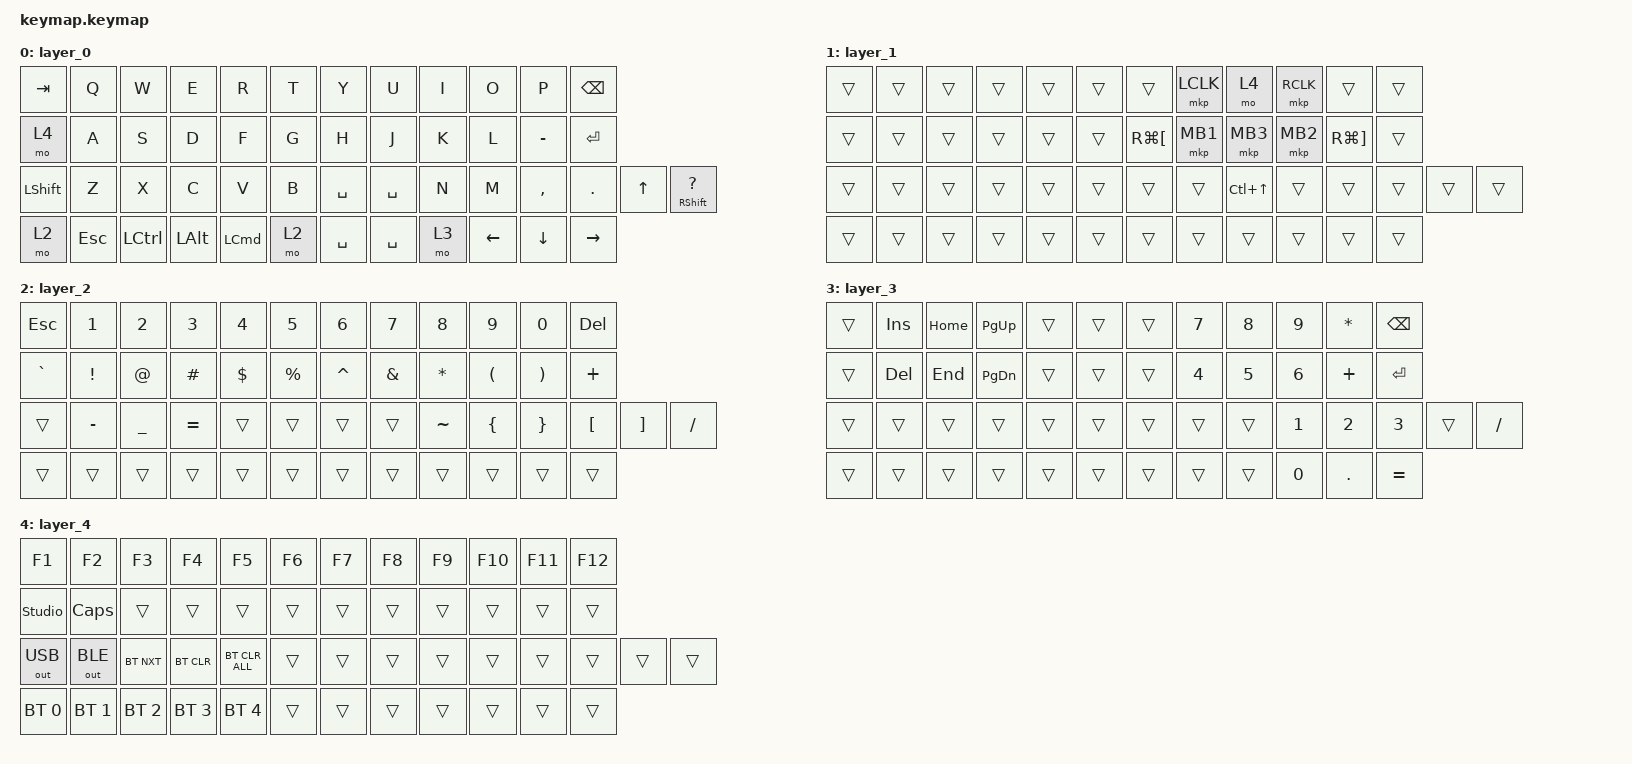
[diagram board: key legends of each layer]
#include <behaviors.dtsi>
#include <dt-bindings/zmk/bt.h>
#include <dt-bindings/zmk/keys.h>
#include <dt-bindings/zmk/outputs.h>
#include <dt-bindings/zmk/pointing.h>

/ {
    combos {
        compatible = "zmk,combos";

        bt_clear {
            bindings = <&bt BT_CLR>;
            key-positions = <28 29>;
            layers = <2>;
        };
    };

    keymap {
        compatible = "zmk,keymap";

        layer_0 {
            // Base layer (変更点: 左手ホームロー下段 A の左隣キーを &mo 5 → &mo 4 に変更し、
            // レイヤー4(システム/Fキー層)へ直接アクセスできるようにした)
            bindings = <
&kp TAB    &kp Q       &kp W             &kp E     &kp R             &kp T  &kp Y      &kp U      &kp I  &kp O           &kp P           &kp BSPC
&mo 4      &kp A       &kp S             &kp D     &kp F             &kp G  &kp H      &kp J      &kp K  &kp L           &kp MINUS       &kp ENTER
&kp LSHFT  &kp Z       &kp X             &kp C     &kp V             &kp B  &kp SPACE  &kp SPACE  &kp N  &kp M           &kp COMMA       &kp DOT          &kp UP_ARROW  &mt RSHFT QUESTION
&mo 2      &kp ESCAPE  &kp LEFT_CONTROL  &kp LALT  &kp LEFT_COMMAND  &mo 2  &kp SPACE  &kp SPACE  &mo 3  &kp LEFT_ARROW  &kp DOWN_ARROW  &kp RIGHT_ARROW
            >;
        };

        layer_1 {
            // トラックボール/マウスレイヤー(変更なし・現状維持)
            bindings = <
&trans  &trans  &trans  &trans  &trans  &trans  &trans                &mkp LCLK  &mo 4             &mkp RCLK  &trans                 &trans
&trans  &trans  &trans  &trans  &trans  &trans  &kp RG(LEFT_BRACKET)  &mkp MB1   &mkp MB3          &mkp MB2   &kp RG(RIGHT_BRACKET)  &trans
&trans  &trans  &trans  &trans  &trans  &trans  &trans                &trans     &kp LC(UP_ARROW)  &trans     &trans                 &trans  &trans  &trans
&trans  &trans  &trans  &trans  &trans  &trans  &trans                &trans     &trans            &trans     &trans                 &trans
            >;
        };

        layer_2 {
            // 記号レイヤー(Symbols) - コーディングで頻出する記号を集約
            bindings = <
&kp ESCAPE  &kp N1     &kp N2  &kp N3     &kp N4         &kp N5          &kp N6         &kp N7             &kp N8     &kp N9                &kp N0                 &kp DELETE
&kp GRAVE   &kp EXCL   &kp AT  &kp HASH   &kp DOLLAR     &kp PRCNT       &kp CARET      &kp AMPERSAND      &kp ASTRK  &kp LEFT_PARENTHESIS  &kp RIGHT_PARENTHESIS  &kp PLUS
&trans      &kp MINUS  &kp UNDERSCORE  &kp EQUAL  &trans         &trans          &trans         &trans             &kp TILDE  &kp LEFT_BRACE        &kp RIGHT_BRACE        &kp LEFT_BRACKET  &kp RIGHT_BRACKET  &kp SLASH
&trans      &trans     &trans  &trans     &trans         &trans          &trans         &trans             &trans     &trans                &trans                 &trans
            >;
        };

        layer_3 {
            // ナビゲーション & テンキーレイヤー(Navigation & Numpad)
            // 矢印キーはベースレイヤー0に常設済みのため、ここでは Home/End/PageUp/PageDown とテンキーに専念
            bindings = <
&trans  &kp INSERT  &kp HOME  &kp PAGE_UP    &trans  &trans  &trans  &kp N7  &kp N8  &kp N9  &kp ASTRK  &kp BSPC
&trans  &kp DELETE  &kp END   &kp PAGE_DOWN  &trans  &trans  &trans  &kp N4  &kp N5  &kp N6  &kp PLUS   &kp ENTER
&trans  &trans      &trans    &trans         &trans  &trans  &trans  &trans  &trans  &kp N1  &kp N2     &kp N3  &trans  &kp SLASH
&trans  &trans      &trans    &trans         &trans  &trans  &trans  &trans  &trans  &kp N0  &kp DOT    &kp EQUAL
            >;
        };

        layer_4 {
            // システム/Fキーレイヤー(System / Function / Bluetooth)
            // レイヤー0の &mo 4(旧&mo5のキー)、およびレイヤー1(トラックボール層)の &mo 4 の両方からアクセス可能
            bindings = <
&kp F1        &kp F2        &kp F3        &kp F4        &kp F5        &kp F6      &kp F7      &kp F8  &kp F9  &kp F10  &kp F11  &kp F12
&studio_unlock  &kp CAPSLOCK  &trans        &trans        &trans        &trans      &trans      &trans  &trans  &trans   &trans   &trans
&out OUT_USB  &out OUT_BLE  &bt BT_NXT    &bt BT_CLR    &bt BT_CLR_ALL  &trans    &trans      &trans  &trans  &trans   &trans   &trans  &trans  &trans
&bt BT_SEL 0  &bt BT_SEL 1  &bt BT_SEL 2  &bt BT_SEL 3  &bt BT_SEL 4  &trans      &trans      &trans  &trans  &trans   &trans   &trans
            >;
        };
    };
};
